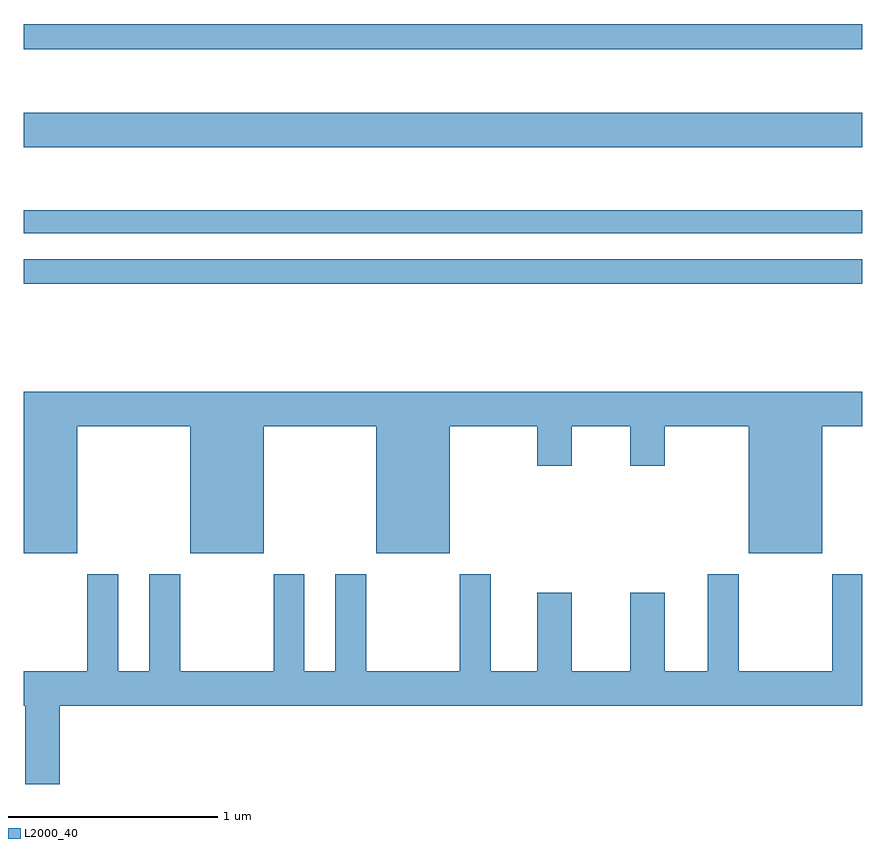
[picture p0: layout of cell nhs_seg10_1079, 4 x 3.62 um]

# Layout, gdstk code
import gdstk
lib = gdstk.Library(unit=1e-6, precision=1e-09)
def R(c, l, rs):  # rectangles x0, y0, x1, y1
    for r in rs: c.add(gdstk.rectangle(r[:2], r[2:], *l))
def P(c, l, *ps):  # polygons
    for p in ps: c.add(gdstk.Polygon(p, *l))
L2000_40 = (2000, 40)

nhs_seg10_1079 = lib.new_cell('nhs_seg10_1079')
R(nhs_seg10_1079, L2000_40, [(165,1328.968,169,1329.084), (165,1329.21,169,1329.319), (165,1329.62,169,1329.784), (165,1330.086,169,1330.207)])
P(nhs_seg10_1079, L2000_40, [(165.256,1328.288),(165.794,1328.288),(165.794,1327.682),(166.144,1327.682),(166.144,1328.288),(166.682,1328.288),(166.682,1327.682),(167.032,1327.682),(167.032,1328.288),(167.45,1328.288),(167.45,1328.1),(167.614,1328.1),(167.614,1328.288),(167.894,1328.288),(167.894,1328.1),(168.058,1328.1),(168.058,1328.288),(168.458,1328.288),(168.458,1327.682),(168.808,1327.682),(168.808,1328.288),(169,1328.288),(169,1328.452),(165,1328.452),(165,1327.682),(165.256,1327.682)],
  [(165.172,1326.956),(169,1326.956),(169,1327.582),(168.856,1327.582),(168.856,1327.12),(168.411,1327.12),(168.411,1327.582),(168.263,1327.582),(168.263,1327.12),(168.058,1327.12),(168.058,1327.495),(167.894,1327.495),(167.894,1327.12),(167.614,1327.12),(167.614,1327.495),(167.45,1327.495),(167.45,1327.12),(167.227,1327.12),(167.227,1327.582),(167.08,1327.582),(167.08,1327.12),(166.635,1327.12),(166.635,1327.582),(166.487,1327.582),(166.487,1327.12),(166.339,1327.12),(166.339,1327.582),(166.192,1327.582),(166.192,1327.12),(165.747,1327.12),(165.747,1327.582),(165.599,1327.582),(165.599,1327.12),(165.451,1327.12),(165.451,1327.582),(165.304,1327.582),(165.304,1327.12),(165,1327.12),(165,1326.956),(165.008,1326.956),(165.008,1326.582),(165.172,1326.582)])

lib.write_gds('nhs_seg10_1079.gds')
